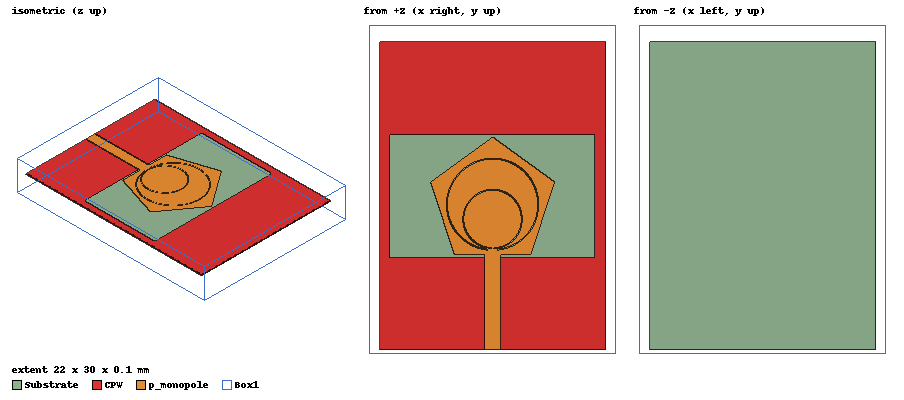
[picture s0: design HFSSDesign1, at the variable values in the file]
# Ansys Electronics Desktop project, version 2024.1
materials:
  vacuum: permittivity=1
  Plastic, LCP: permittivity=3.19374 conductivity=3.15469e-14 dielectric_loss_tangent=0.0173205

design HFSSDesign1 (HFSS, HFSS Terminal Network, model units mm)
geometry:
  CPW = rectangle(corner=((-22/2) mm, (30/2) mm, 0mm), x_size=22mm, y_size=-30mm)
  Polyline1 = polyline((0.15mm, -6.35mm, 0mm) (10mm, -6.35mm, 0mm))
  Polyline2 = polyline((0.15mm, -6.35mm, 0mm) (-10mm, -6.35mm, 0mm))
  p_monopole = regular_polygon(axis=Z, centre=(0mm, 0mm, 0mm), first_corner=(0mm, 6.35mm, 0mm), sides=5)
  p_monopole.move(0mm, -1.2127421mm, 0mm)
  Rectangle2 = rectangle(corner=(-0.75mm, 0mm, 0mm), x_size=1.5mm, y_size=-15mm)
  Rectangle3 = rectangle(corner=(-10mm, 6mm, 0mm), x_size=20mm, y_size=-12mm)
  Rectangle4 = rectangle(corner=(-0.8mm, 0mm, 0mm), x_size=1.6mm, y_size=-15mm)
  Rectangle4.unite(Rectangle3)
  CPW.subtract(Rectangle4)
  CPW.move(0mm, -0.606371041mm, 0mm)
  Substrate [Plastic, LCP] = box(corner=(-11mm, 14.393629mm, 0mm), size=(22mm, -30mm, -0.1mm))
  R1 = circle(normal=Z, centre=(0mm, -2.8718145mm, 0mm), radius=2.9mm)
  Circle2 = circle(normal=Z, centre=(0mm, -2.8718145mm, 0mm), radius=2.8mm)
  R1.subtract(Circle2)
  Rectangle5 = rectangle(corner=(-0.1mm, -5.6mm, 0mm), x_size=0.2mm, y_size=-0.4mm)
  R1.subtract(Rectangle5)
  R2 = circle(normal=Z, centre=(0mm, -1.4359072mm, 0mm), radius=4.5mm)
  Circle4 = circle(normal=Z, centre=(0mm, -1.4359072mm, 0mm), radius=4.4mm)
  Rectangle6 = rectangle(corner=(-0.5mm, -5.7mm, 0mm), x_size=1mm, y_size=-0.4mm)
  R2.subtract(Circle4, Rectangle6)
  Rectangle2.move(0mm, -0.606371041mm, 0mm)
  p_monopole.unite(Rectangle2)
  p_monopole.subtract(R1, R2)
  Box1 [vacuum] = box(corner=(-12mm, -16mm, -2.5mm), size=(24mm, 32mm, 5mm))
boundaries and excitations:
  PerfE1: Perfect E Objects=p_monopole
  1: Lumped Port Objects=CPW LumpedPortType=Modal Modes{Mode1{IntLine{(-5200mm, -15600mm, 0mm) -> (8200mm, -15600mm, 0mm)} CharImp=Zpi}} Impedance=50ohm
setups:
  Setup1: HfssDriven Frequency=2.45GHz MaxDeltaS=0.02 MaximumPasses=6 MinimumPasses=1 MinimumConvergedPasses=1 PercentRefinement=30 BasisOrder=1 PortAccuracy=2 DrivenSolverType="Direct Solver"
    sweep Sweep: 1.225GHz to 3.675GHz, 401 points; Type=Fast SaveFields
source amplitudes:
  1:1: 1V 0deg
